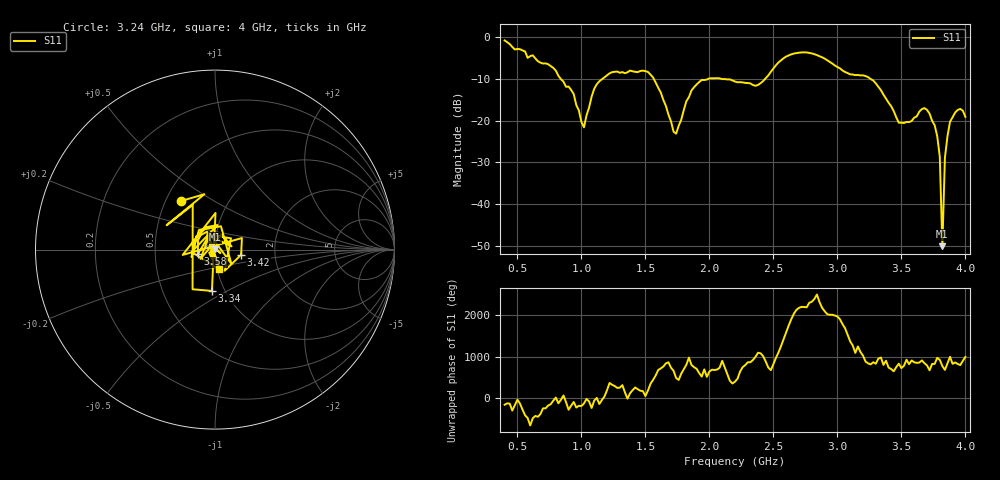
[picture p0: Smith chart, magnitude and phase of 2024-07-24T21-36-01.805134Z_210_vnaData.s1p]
!Created with skrf (http://scikit-rf.org).
# Hz S RI R 50.0
!freq ReS11 ImS11
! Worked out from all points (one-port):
!   181 points, 400 MHz to 4 GHz, reference 50 ohm
!   lowest |S11| = -50.1 dB at 3.82 GHz (marker M1), VSWR 1.01, Z = 50.1 + j0.274 ohm
!   |S11| at or under -10 dB: 837.9 MHz to 1.165 GHz (327.1 MHz wide, 32.7 % of centre); 1.565 GHz to 1.992 GHz (427.2 MHz wide, 24 % of centre); 3.258 GHz to end of sweep (the widest 3 of 4)
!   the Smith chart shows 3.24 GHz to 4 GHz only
!   S11 on the Smith chart (normalised r, x): 3.24 GHz: 0.60, +0.36; 3.34 GHz: 0.87, -0.42; 3.42 GHz: 1.34, -0.08; 3.58 GHz: 0.82, -0.04; 4 GHz: 1.02, -0.22
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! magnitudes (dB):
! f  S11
! 400 MHz  -0.8
! 860 MHz  -10.7
! 940 MHz  -13.7
! 1.02 GHz  -21.6
! 1.12 GHz  -11.3
! 1.3 GHz  -8.6
! 1.52 GHz  -8.4
! 1.72 GHz  -22.7
! 1.76 GHz  -21.3
! 1.86 GHz  -12.8
! 1.94 GHz  -10.3
! 2.2 GHz  -10.7
! 2.38 GHz  -11.5
! 2.66 GHz  -3.9
! 3.1 GHz  -8.9
! 3.24 GHz  -9.6
! 3.34 GHz  -12.7
! 3.42 GHz  -16.6
! 3.48 GHz  -20.5
! 3.56 GHz  -20.4
! 3.58 GHz  -20.1
! 3.68 GHz  -17.0
! 3.76 GHz  -21.1
! 3.8 GHz  -28.7
! 3.82 GHz  -50.1
! 3.84 GHz  -28.9
! 3.88 GHz  -20.3
! 4 GHz  -19.1
